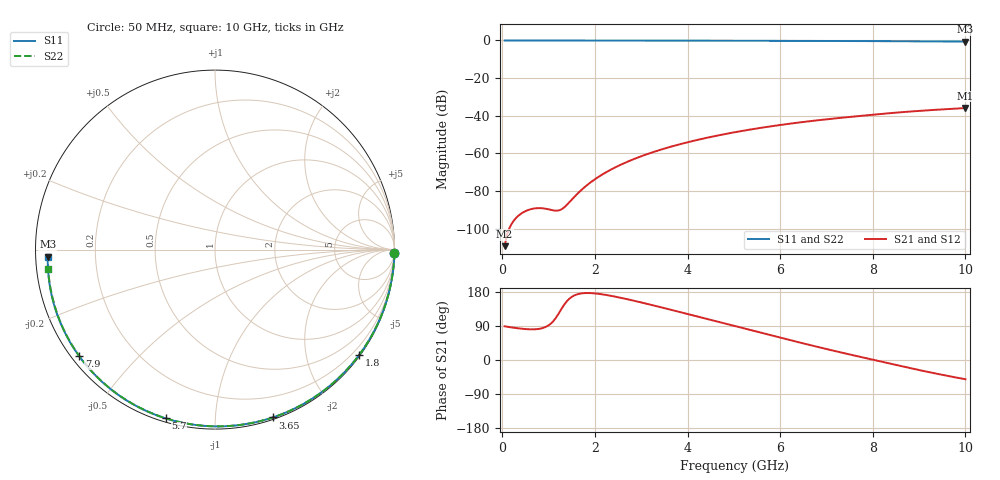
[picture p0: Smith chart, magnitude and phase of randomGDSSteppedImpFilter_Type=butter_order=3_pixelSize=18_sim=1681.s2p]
! freq	dB(S11)	phase(S11)	dB(S12)	phase(S12)
!  dB(S21)	phase(S21)	dB(S22)	phase(S22)
!S-par simulation data
#  GHz  S  DB  R 50
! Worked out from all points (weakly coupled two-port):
!   200 points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, 50 MHz to 10 GHz, reference 50 ohm
!   highest |S21| = -35.93 dB at 10 GHz (marker M1); lowest = -109.4 dB at 50 MHz (marker M2)
!   lowest |S11| = -0.6 dB at 10 GHz (marker M3), VSWR 28.54, Z = 1.75 - j1.03 ohm
!   |S11| at or under -10 dB: nowhere
!   |S22| runs from -0.6 to 0.0 dB; largest |S21 - S12| = 0
!   S11 on the Smith chart (normalised r, x): 50 MHz: open; 1.8 GHz: 0.03, -3.07; 3.65 GHz: 0.02, -1.40; 5.7 GHz: 0.02, -0.75; 7.9 GHz: 0.02, -0.35; 10 GHz: 0.04, -0.02
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0.05  -0.00 -1.0  -109.38 88.9  -109.38 88.9  -0.00 -1.0
0.45  -0.01 -9.2  -91.41 82.1  -91.41 82.1  -0.01 -9.0
0.85  -0.02 -17.2  -89.19 83.6  -89.19 83.6  -0.02 -16.9
1.65  -0.04 -33.2  -80.83 174.3  -80.83 174.3  -0.04 -32.5
1.7  -0.04 -34.2  -79.67 175.5  -79.67 175.5  -0.04 -33.4
1.75  -0.04 -35.1  -78.57 176.3  -78.57 176.3  -0.04 -34.4
1.8  -0.05 -36.1  -77.53 176.7  -77.53 176.7  -0.05 -35.4
1.95  -0.05 -39.1  -74.67 176.3  -74.67 176.3  -0.05 -38.2
2.1  -0.05 -42.0  -72.18 174.3  -72.18 174.3  -0.05 -41.1
2.45  -0.06 -48.7  -67.35 166.9  -67.35 166.9  -0.06 -47.7
2.9  -0.07 -57.2  -62.50 154.8  -62.50 154.8  -0.07 -56.0
3.4  -0.09 -66.4  -58.24 139.9  -58.24 139.9  -0.09 -65.1
3.65  -0.09 -71.0  -56.42 132.3  -56.42 132.3  -0.09 -69.5
4.35  -0.12 -83.4  -52.11 110.5  -52.11 110.5  -0.12 -81.7
5.05  -0.15 -95.4  -48.66 88.6  -48.66 88.6  -0.14 -93.6
5.7  -0.18 -106.3  -46.01 68.3  -46.01 68.3  -0.18 -104.2
6.7  -0.24 -122.6  -42.76 37.8  -42.76 37.8  -0.23 -120.3
7.3  -0.28 -132.2  -41.16 20.3  -41.16 20.3  -0.28 -129.7
7.9  -0.34 -141.9  -39.72 3.6  -39.72 3.6  -0.33 -139.2
8.35  -0.38 -149.1  -38.71 -8.8  -38.71 -8.8  -0.37 -146.3
9.2  -0.48 -163.3  -37.12 -31.7  -37.12 -31.7  -0.47 -160.0
10  -0.61 -177.6  -35.93 -50.7  -35.93 -50.7  -0.58 -173.5
